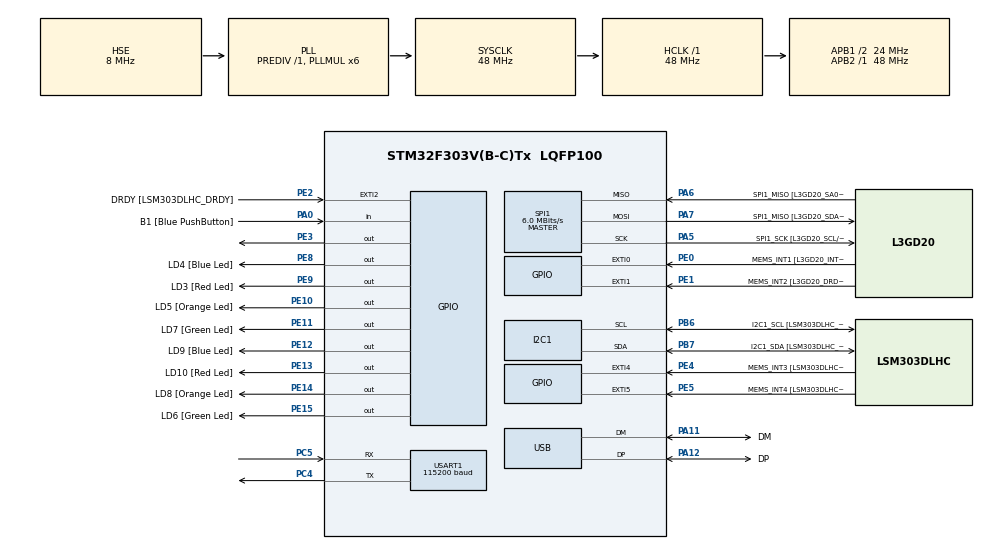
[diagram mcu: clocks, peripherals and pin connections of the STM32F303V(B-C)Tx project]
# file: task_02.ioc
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I2C1.Timing=0x00201D2B
I2C1.Timing-I2C=0x2000090E
Mcu.Family=STM32F3
Mcu.Name=STM32F303V(B-C)Tx
Mcu.Package=LQFP100
NVIC.PriorityGroup=NVIC_PRIORITYGROUP_0
NVIC.SPI1_IRQn=true\:0\:0\:false\:false\:true\:true\:true\:true
PA0.GPIO_Label=B1 [Blue PushButton]
PA0.Signal=GPIO_Input
PA11.GPIO_Label=DM
PA11.Mode=Device
PA11.Signal=USB_DM
PA12.GPIO_Label=DP
PA12.Mode=Device
PA12.Signal=USB_DP
PA13.GPIO_Label=SWDIO
PA13.Mode=Serial_Wire
PA13.Signal=SYS_JTMS-SWDIO
PA14.GPIO_Label=SWCLK
PA14.Mode=Serial_Wire
PA14.Signal=SYS_JTCK-SWCLK
PA5.GPIO_Label=SPI1_SCK [L3GD20_SCL/SPC]
PA5.Mode=Full_Duplex_Master
PA5.Signal=SPI1_SCK
PA6.GPIO_Label=SPI1_MISO [L3GD20_SA0/SDO]
PA6.Mode=Full_Duplex_Master
PA6.Signal=SPI1_MISO
PA7.GPIO_Label=SPI1_MISO [L3GD20_SDA/SDI/SDO]
PA7.Mode=Full_Duplex_Master
PA7.Signal=SPI1_MOSI
PB3.GPIO_Label=SWO
PB3.Signal=SYS_JTDO-TRACESWO
PB6.GPIO_Label=I2C1_SCL [LSM303DLHC_SCL]
PB6.GPIO_Pu=GPIO_PULLUP
PB6.Mode=I2C
PB6.Signal=I2C1_SCL
PB7.GPIO_Label=I2C1_SDA [LSM303DLHC_SDA]
PB7.GPIO_Pu=GPIO_PULLUP
PB7.Mode=I2C
PB7.Signal=I2C1_SDA
PC14-OSC32_IN.GPIO_Label=OSC32_IN
PC14-OSC32_IN.Signal=RCC_OSC32_IN
PC15-OSC32_OUT.GPIO_Label=OSC32_OUT
PC15-OSC32_OUT.Signal=RCC_OSC32_OUT
PC4.Mode=Asynchronous
PC4.Signal=USART1_TX
PC5.Mode=Asynchronous
PC5.Signal=USART1_RX
PE0.GPIO_Label=MEMS_INT1 [L3GD20_INT1]
PE0.GPIO_ModeDefaultEXTI=GPIO_MODE_EVT_RISING
PE0.Signal=GPXTI0
PE1.GPIO_Label=MEMS_INT2 [L3GD20_DRDY/INT2]
PE1.GPIO_ModeDefaultEXTI=GPIO_MODE_EVT_RISING
PE1.Signal=GPXTI1
PE10.GPIO_Label=LD5 [Orange Led]
PE10.Signal=GPIO_Output
PE11.GPIO_Label=LD7 [Green Led]
PE11.Signal=GPIO_Output
PE12.GPIO_Label=LD9 [Blue Led]
PE12.Signal=GPIO_Output
PE13.GPIO_Label=LD10 [Red Led]
PE13.Signal=GPIO_Output
PE14.GPIO_Label=LD8 [Orange Led]
PE14.Signal=GPIO_Output
PE15.GPIO_Label=LD6 [Green Led]
PE15.Signal=GPIO_Output
PE2.GPIO_Label=DRDY [LSM303DLHC_DRDY]
PE2.GPIO_ModeDefaultEXTI=GPIO_MODE_EVT_RISING
PE2.Signal=GPXTI2
PE3.Signal=GPIO_Output
PE4.GPIO_Label=MEMS_INT3 [LSM303DLHC_INT1]
PE4.GPIO_ModeDefaultEXTI=GPIO_MODE_EVT_RISING
PE4.Signal=GPXTI4
PE5.GPIO_Label=MEMS_INT4 [LSM303DLHC_INT2]
PE5.GPIO_ModeDefaultEXTI=GPIO_MODE_EVT_RISING
PE5.Signal=GPXTI5
PE8.GPIO_Label=LD4 [Blue Led]
PE8.Signal=GPIO_Output
PE9.GPIO_Label=LD3 [Red Led]
PE9.Signal=GPIO_Output
PF0-OSC_IN.GPIO_Label=OSC_IN
PF0-OSC_IN.Mode=HSE-External-Clock-Source
PF0-OSC_IN.Signal=RCC_OSC_IN
PF1-OSC_OUT.GPIO_Label=OSC_OUT
PF1-OSC_OUT.Signal=RCC_OSC_OUT
ProjectManager.HeapSize=0x200
ProjectManager.StackSize=0x400
ProjectManager.TargetToolchain=CMake
RCC.AHBFreq_Value=48000000
RCC.APB1CLKDivider=RCC_HCLK_DIV2
RCC.APB1Freq_Value=24000000
RCC.APB1TimFreq_Value=48000000
RCC.APB2Freq_Value=48000000
RCC.APB2TimFreq_Value=48000000
RCC.CortexFreq_Value=48000000
RCC.HCLKFreq_Value=48000000
RCC.HSE_VALUE=8000000
RCC.HSI_VALUE=8000000
RCC.LSE_VALUE=32768
RCC.PLLMUL=RCC_PLL_MUL6
RCC.SYSCLKFreq_VALUE=48000000
RCC.SYSCLKSourceVirtual=RCC_SYSCLKSOURCE_PLLCLK
RCC.USBFreq_Value=48000000
SPI1.BaudRatePrescaler=SPI_BAUDRATEPRESCALER_8
SPI1.BaudRatePrescaler-Full_Duplex_Master=SPI_BAUDRATEPRESCALER_2
SPI1.CLKPhase=SPI_PHASE_2EDGE
SPI1.CLKPolarity=SPI_POLARITY_HIGH
SPI1.CalculateBaudRate=6.0 MBits/s
SPI1.CalculateBaudRate-Full_Duplex_Master=24.0 MBits/s
SPI1.DataSize=SPI_DATASIZE_8BIT
SPI1.Direction=SPI_DIRECTION_2LINES
SPI1.Mode=SPI_MODE_MASTER
SPI1.Mode-Full_Duplex_Master=SPI_MODE_MASTER
SPI1.VirtualType=VM_MASTER
USART1.BaudRate=115200
USART1.VirtualMode-Asynchronous=VM_ASYNC
board=STM32F3DISCOVERY

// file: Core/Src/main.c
/* USER CODE BEGIN Header */
/**
  ******************************************************************************
  * @file           : main.c
  * @brief          : Main program body
  ******************************************************************************
  * @attention
  *
  * Copyright (c) 2026 STMicroelectronics.
  * All rights reserved.
  *
  * This software is licensed under terms that can be found in the LICENSE file
  * in the root directory of this software component.
  * If no LICENSE file comes with this software, it is provided AS-IS.
  *
  ******************************************************************************
  */
/* USER CODE END Header */
#include "main.h"

/* USER CODE BEGIN Includes */
#include <stdio.h>
#include <string.h>
/* USER CODE END Includes */

I2C_HandleTypeDef hi2c1;

SPI_HandleTypeDef hspi1;

UART_HandleTypeDef huart1;

PCD_HandleTypeDef hpcd_USB_FS;

void SystemClock_Config(void);
static void MX_GPIO_Init(void);
static void MX_I2C1_Init(void);
static void MX_SPI1_Init(void);
static void MX_USART1_UART_Init(void);
static void MX_USB_PCD_Init(void);

/* USER CODE BEGIN 0 */
uint8_t temperature;
uint8_t txData = 0x80 | 0x26;
char buffer[30];

#define CTRL_REG1 0x20
#define CTRL_REG1_VAL 0b00001111

void gyro_init(void)
{
  uint8_t tx[2] = { CTRL_REG1, CTRL_REG1_VAL };

  HAL_GPIO_WritePin(GPIOE, GPIO_PIN_3, GPIO_PIN_RESET);

  HAL_SPI_Transmit(&hspi1, tx, 2, HAL_MAX_DELAY);

  HAL_GPIO_WritePin(GPIOE, GPIO_PIN_3, GPIO_PIN_SET);
}

void HAL_SPI_TxCpltCallback(SPI_HandleTypeDef *hspi)
{
  if (hspi->Instance == SPI1)
  {
    HAL_SPI_Receive_IT(&hspi1, (uint8_t*)&temperature, 1);
  }
}

void HAL_SPI_RxCpltCallback(SPI_HandleTypeDef *hspi)
{
  if (hspi->Instance == SPI1)
  {
    HAL_GPIO_WritePin(GPIOE, GPIO_PIN_3, GPIO_PIN_SET);

    sprintf(buffer, "%d\r\n", temperature);
    HAL_UART_Transmit(&huart1, (uint8_t*)buffer, strlen(buffer), HAL_MAX_DELAY);
  }
}
/* USER CODE END 0 */

int main(void)
{

  /* MCU Configuration--------------------------------------------------------*/

  /* Reset of all peripherals, Initializes the Flash interface and the Systick. */
  HAL_Init();

  /* Configure the system clock */
  SystemClock_Config();

  /* Initialize all configured peripherals */
  MX_GPIO_Init();
  MX_I2C1_Init();
  MX_SPI1_Init();
  MX_USART1_UART_Init();
  MX_USB_PCD_Init();
  /* USER CODE BEGIN 2 */
  gyro_init();
  /* USER CODE END 2 */

  /* Infinite loop */
  while (1)
  {
    HAL_GPIO_WritePin(GPIOE, GPIO_PIN_3, GPIO_PIN_RESET);

    HAL_SPI_Transmit_IT(&hspi1, &txData, 1);

    HAL_Delay(100);
  }
}

void SystemClock_Config(void)
{
  RCC_OscInitTypeDef RCC_OscInitStruct = {0};
  RCC_ClkInitTypeDef RCC_ClkInitStruct = {0};
  RCC_PeriphCLKInitTypeDef PeriphClkInit = {0};

  /** Initializes the RCC Oscillators according to the specified parameters
  * in the RCC_OscInitTypeDef structure.
  */
  RCC_OscInitStruct.OscillatorType = RCC_OSCILLATORTYPE_HSI|RCC_OSCILLATORTYPE_HSE;
  RCC_OscInitStruct.HSEState = RCC_HSE_BYPASS;
  RCC_OscInitStruct.HSEPredivValue = RCC_HSE_PREDIV_DIV1;
  RCC_OscInitStruct.HSIState = RCC_HSI_ON;
  RCC_OscInitStruct.HSICalibrationValue = RCC_HSICALIBRATION_DEFAULT;
  RCC_OscInitStruct.PLL.PLLState = RCC_PLL_ON;
  RCC_OscInitStruct.PLL.PLLSource = RCC_PLLSOURCE_HSE;
  RCC_OscInitStruct.PLL.PLLMUL = RCC_PLL_MUL6;
  if (HAL_RCC_OscConfig(&RCC_OscInitStruct) != HAL_OK)
  {
    Error_Handler();
  }

  /** Initializes the CPU, AHB and APB buses clocks
  */
  RCC_ClkInitStruct.ClockType = RCC_CLOCKTYPE_HCLK|RCC_CLOCKTYPE_SYSCLK
                              |RCC_CLOCKTYPE_PCLK1|RCC_CLOCKTYPE_PCLK2;
  RCC_ClkInitStruct.SYSCLKSource = RCC_SYSCLKSOURCE_PLLCLK;
  RCC_ClkInitStruct.AHBCLKDivider = RCC_SYSCLK_DIV1;
  RCC_ClkInitStruct.APB1CLKDivider = RCC_HCLK_DIV2;
  RCC_ClkInitStruct.APB2CLKDivider = RCC_HCLK_DIV1;

  if (HAL_RCC_ClockConfig(&RCC_ClkInitStruct, FLASH_LATENCY_1) != HAL_OK)
  {
    Error_Handler();
  }
  PeriphClkInit.PeriphClockSelection = RCC_PERIPHCLK_USB|RCC_PERIPHCLK_USART1
                              |RCC_PERIPHCLK_I2C1;
  PeriphClkInit.Usart1ClockSelection = RCC_USART1CLKSOURCE_PCLK2;
  PeriphClkInit.I2c1ClockSelection = RCC_I2C1CLKSOURCE_HSI;
  PeriphClkInit.USBClockSelection = RCC_USBCLKSOURCE_PLL;
  if (HAL_RCCEx_PeriphCLKConfig(&PeriphClkInit) != HAL_OK)
  {
    Error_Handler();
  }
}

static void MX_I2C1_Init(void)
{

  hi2c1.Instance = I2C1;
  hi2c1.Init.Timing = 0x2000090E;
  hi2c1.Init.OwnAddress1 = 0;
  hi2c1.Init.AddressingMode = I2C_ADDRESSINGMODE_7BIT;
  hi2c1.Init.DualAddressMode = I2C_DUALADDRESS_DISABLE;
  hi2c1.Init.OwnAddress2 = 0;
  hi2c1.Init.OwnAddress2Masks = I2C_OA2_NOMASK;
  hi2c1.Init.GeneralCallMode = I2C_GENERALCALL_DISABLE;
  hi2c1.Init.NoStretchMode = I2C_NOSTRETCH_DISABLE;
  if (HAL_I2C_Init(&hi2c1) != HAL_OK)
  {
    Error_Handler();
  }

  /** Configure Analogue filter
  */
  if (HAL_I2CEx_ConfigAnalogFilter(&hi2c1, I2C_ANALOGFILTER_ENABLE) != HAL_OK)
  {
    Error_Handler();
  }

  /** Configure Digital filter
  */
  if (HAL_I2CEx_ConfigDigitalFilter(&hi2c1, 0) != HAL_OK)
  {
    Error_Handler();
  }

}

static void MX_SPI1_Init(void)
{

  /* SPI1 parameter configuration*/
  hspi1.Instance = SPI1;
  hspi1.Init.Mode = SPI_MODE_MASTER;
  hspi1.Init.Direction = SPI_DIRECTION_2LINES;
  hspi1.Init.DataSize = SPI_DATASIZE_8BIT;
  hspi1.Init.CLKPolarity = SPI_POLARITY_HIGH;
  hspi1.Init.CLKPhase = SPI_PHASE_2EDGE;
  hspi1.Init.NSS = SPI_NSS_SOFT;
  hspi1.Init.BaudRatePrescaler = SPI_BAUDRATEPRESCALER_8;
  hspi1.Init.FirstBit = SPI_FIRSTBIT_MSB;
  hspi1.Init.TIMode = SPI_TIMODE_DISABLE;
  hspi1.Init.CRCCalculation = SPI_CRCCALCULATION_DISABLE;
  hspi1.Init.CRCPolynomial = 7;
  hspi1.Init.CRCLength = SPI_CRC_LENGTH_DATASIZE;
  hspi1.Init.NSSPMode = SPI_NSS_PULSE_DISABLE;
  if (HAL_SPI_Init(&hspi1) != HAL_OK)
  {
    Error_Handler();
  }

}

static void MX_USART1_UART_Init(void)
{

  huart1.Instance = USART1;
  huart1.Init.BaudRate = 115200;
  huart1.Init.WordLength = UART_WORDLENGTH_8B;
  huart1.Init.StopBits = UART_STOPBITS_1;
  huart1.Init.Parity = UART_PARITY_NONE;
  huart1.Init.Mode = UART_MODE_TX_RX;
  huart1.Init.HwFlowCtl = UART_HWCONTROL_NONE;
  huart1.Init.OverSampling = UART_OVERSAMPLING_16;
  huart1.Init.OneBitSampling = UART_ONE_BIT_SAMPLE_DISABLE;
  huart1.AdvancedInit.AdvFeatureInit = UART_ADVFEATURE_NO_INIT;
  if (HAL_UART_Init(&huart1) != HAL_OK)
  {
    Error_Handler();
  }

}

static void MX_USB_PCD_Init(void)
{

  hpcd_USB_FS.Instance = USB;
  hpcd_USB_FS.Init.dev_endpoints = 8;
  hpcd_USB_FS.Init.speed = PCD_SPEED_FULL;
  hpcd_USB_FS.Init.phy_itface = PCD_PHY_EMBEDDED;
  hpcd_USB_FS.Init.low_power_enable = DISABLE;
  hpcd_USB_FS.Init.battery_charging_enable = DISABLE;
  if (HAL_PCD_Init(&hpcd_USB_FS) != HAL_OK)
  {
    Error_Handler();
  }

}

static void MX_GPIO_Init(void)
{
  GPIO_InitTypeDef GPIO_InitStruct = {0};

  /* GPIO Ports Clock Enable */
  __HAL_RCC_GPIOE_CLK_ENABLE();
  __HAL_RCC_GPIOC_CLK_ENABLE();
  __HAL_RCC_GPIOF_CLK_ENABLE();
  __HAL_RCC_GPIOA_CLK_ENABLE();
  __HAL_RCC_GPIOB_CLK_ENABLE();

  /*Configure GPIO pin Output Level */
  HAL_GPIO_WritePin(GPIOE, GPIO_PIN_3|LD4_Pin|LD3_Pin|LD5_Pin
                          |LD7_Pin|LD9_Pin|LD10_Pin|LD8_Pin
                          |LD6_Pin, GPIO_PIN_RESET);

  /*Configure GPIO pins : DRDY_Pin MEMS_INT3_Pin MEMS_INT4_Pin MEMS_INT1_Pin
                           MEMS_INT2_Pin */
  GPIO_InitStruct.Pin = DRDY_Pin|MEMS_INT3_Pin|MEMS_INT4_Pin|MEMS_INT1_Pin
                          |MEMS_INT2_Pin;
  GPIO_InitStruct.Mode = GPIO_MODE_EVT_RISING;
  GPIO_InitStruct.Pull = GPIO_NOPULL;
  HAL_GPIO_Init(GPIOE, &GPIO_InitStruct);

  /*Configure GPIO pins : PE3 LD4_Pin LD3_Pin LD5_Pin
                           LD7_Pin LD9_Pin LD10_Pin LD8_Pin
                           LD6_Pin */
  GPIO_InitStruct.Pin = GPIO_PIN_3|LD4_Pin|LD3_Pin|LD5_Pin
                          |LD7_Pin|LD9_Pin|LD10_Pin|LD8_Pin
                          |LD6_Pin;
  GPIO_InitStruct.Mode = GPIO_MODE_OUTPUT_PP;
  GPIO_InitStruct.Pull = GPIO_NOPULL;
  GPIO_InitStruct.Speed = GPIO_SPEED_FREQ_LOW;
  HAL_GPIO_Init(GPIOE, &GPIO_InitStruct);

  /*Configure GPIO pin : B1_Pin */
  GPIO_InitStruct.Pin = B1_Pin;
  GPIO_InitStruct.Mode = GPIO_MODE_INPUT;
  GPIO_InitStruct.Pull = GPIO_NOPULL;
  HAL_GPIO_Init(B1_GPIO_Port, &GPIO_InitStruct);

}

void Error_Handler(void)
{
  __disable_irq();
  while (1)
  {
  }
}
